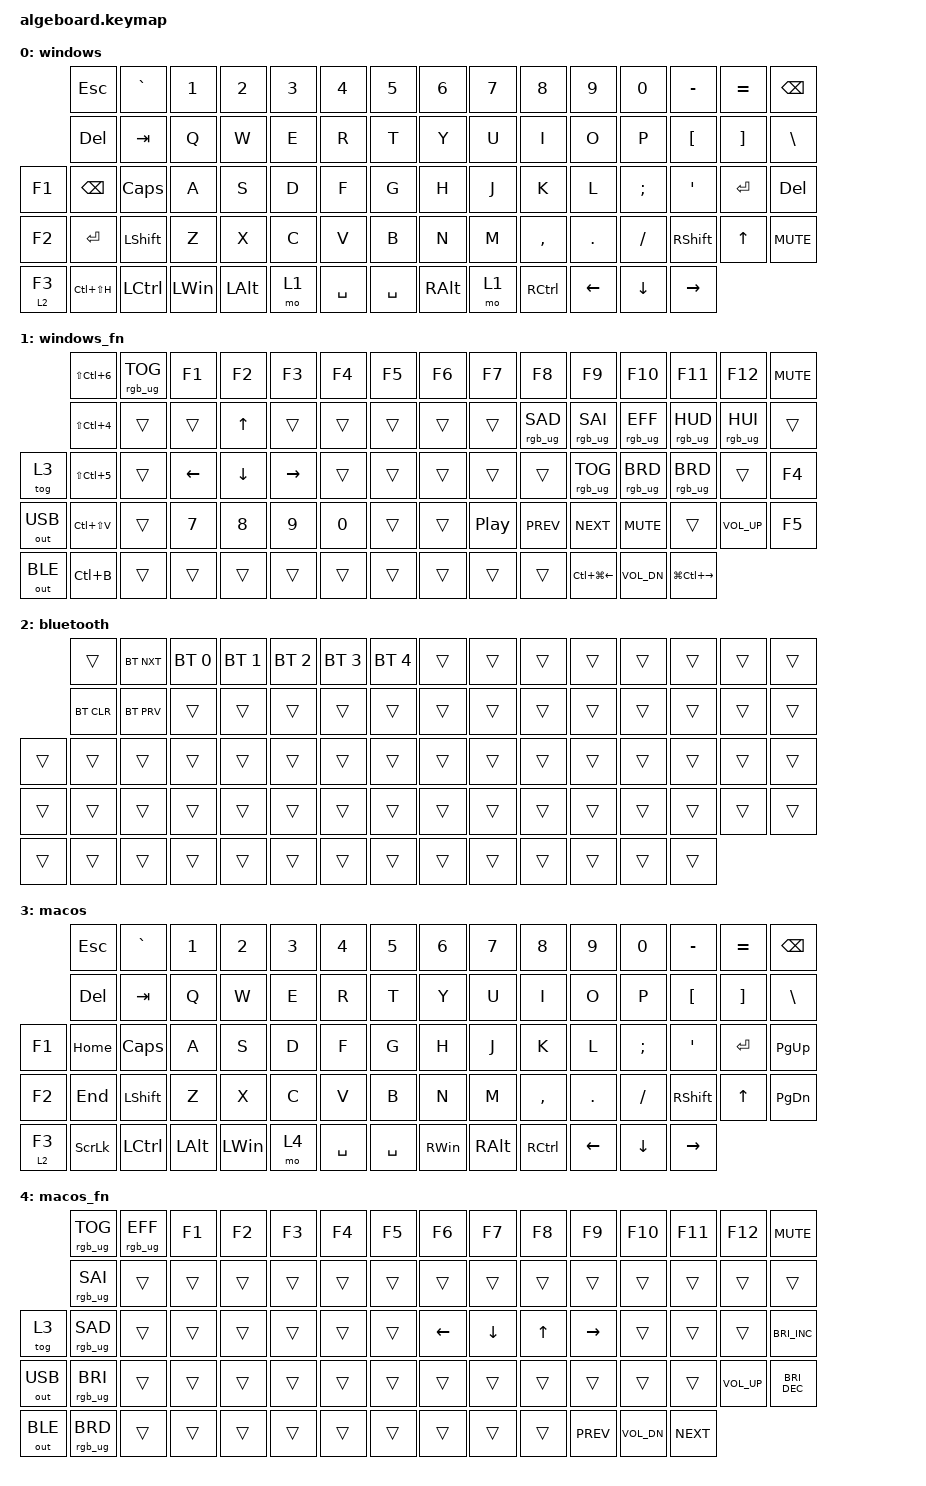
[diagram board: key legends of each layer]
/*
 * Copyright (c) 2020 The ZMK Contributors
 *
 * SPDX-License-Identifier: MIT
 */

#include <behaviors.dtsi>
#include <dt-bindings/zmk/keys.h>
#include <dt-bindings/zmk/rgb.h>
#include <dt-bindings/zmk/outputs.h>
#include <dt-bindings/zmk/bt.h>

/ {
    keymap {
        compatible = "zmk,keymap";

        windows {
            bindings = <
                 &kp ESC     &kp GRAVE    &kp N1    &kp N2  &kp N3     &kp N4     &kp N5    &kp N6  &kp N7     &kp N8    &kp N9     &kp N0   &kp MINUS  &kp EQUAL  &kp BACKSPACE
                 &kp DEL       &kp TAB     &kp Q     &kp W   &kp E      &kp R      &kp T     &kp Y   &kp U      &kp I     &kp O      &kp P    &kp LBKT   &kp RBKT  &kp BACKSLASH
   &kp F1  &kp BACKSPACE  &kp CAPSLOCK     &kp A     &kp S   &kp D      &kp F      &kp G     &kp H   &kp J      &kp K     &kp L   &kp SEMI     &kp SQT  &kp ENTER     &kp DELETE
   &kp F2      &kp ENTER    &kp LSHIFT     &kp Z     &kp X   &kp C      &kp V      &kp B     &kp N   &kp M  &kp COMMA   &kp DOT  &kp SLASH  &kp RSHIFT     &kp UP     &kp C_MUTE
 &lt 2 F3  &kp LC(LS(H))     &kp LCTRL  &kp LWIN  &kp LALT   &mo 1  &kp SPACE  &kp SPACE  &kp RALT   &mo 1  &kp RCTRL  &kp LEFT   &kp DOWN   &kp RIGHT
            >;
        };

        windows_fn {
            bindings = <
               &kp LS(LC(NUMBER_6))  &rgb_ug RGB_TOG        &kp F1        &kp F2        &kp F3        &kp F4  &kp F5  &kp F6            &kp F7           &kp F8            &kp F9          &kp F10            &kp F11          &kp F12  &kp C_MUTE
               &kp LS(LC(NUMBER_4))           &trans        &trans        &kp UP        &trans        &trans  &trans  &trans            &trans  &rgb_ug RGB_SAD   &rgb_ug RGB_SAI  &rgb_ug RGB_EFF    &rgb_ug RGB_HUD  &rgb_ug RGB_HUI      &trans
       &tog 3  &kp LS(LC(NUMBER_5))           &trans      &kp LEFT      &kp DOWN     &kp RIGHT        &trans  &trans  &trans            &trans           &trans   &rgb_ug RGB_TOG  &rgb_ug RGB_BRD    &rgb_ug RGB_BRD           &trans      &kp F4
 &out OUT_USB         &kp LC(LS(V))           &trans  &kp NUMBER_7  &kp NUMBER_8  &kp NUMBER_9  &kp NUMBER_0  &trans  &trans  &kp C_PLAY_PAUSE       &kp C_PREV        &kp C_NEXT       &kp C_MUTE             &trans     &kp C_VOL_UP      &kp F5
 &out OUT_BLE             &kp LC(B)           &trans        &trans        &trans        &trans        &trans  &trans  &trans            &trans           &trans  &kp LC(LG(LEFT))     &kp C_VOL_DN  &kp LG(LC(RIGHT))
            >;
        };

        bluetooth {
            bindings = <
             &trans  &bt BT_NXT  &bt BT_SEL 0  &bt BT_SEL 1  &bt BT_SEL 2  &bt BT_SEL 3  &bt BT_SEL 4  &trans  &trans  &trans  &trans  &trans  &trans  &trans  &trans
         &bt BT_CLR  &bt BT_PRV        &trans        &trans        &trans        &trans        &trans  &trans  &trans  &trans  &trans  &trans  &trans  &trans  &trans
 &trans      &trans      &trans        &trans        &trans        &trans        &trans        &trans  &trans  &trans  &trans  &trans  &trans  &trans  &trans  &trans
 &trans      &trans      &trans        &trans        &trans        &trans        &trans        &trans  &trans  &trans  &trans  &trans  &trans  &trans  &trans  &trans
 &trans      &trans      &trans        &trans        &trans        &trans        &trans        &trans  &trans  &trans  &trans  &trans  &trans  &trans
            >;
        };

        macos {
            bindings = <
                  &kp ESC     &kp GRAVE    &kp N1    &kp N2  &kp N3     &kp N4     &kp N5    &kp N6    &kp N7     &kp N8    &kp N9     &kp N0   &kp MINUS  &kp EQUAL  &kp BACKSPACE
                  &kp DEL       &kp TAB     &kp Q     &kp W   &kp E      &kp R      &kp T     &kp Y     &kp U      &kp I     &kp O      &kp P    &kp LBKT   &kp RBKT  &kp BACKSLASH
   &kp F1        &kp HOME  &kp CAPSLOCK     &kp A     &kp S   &kp D      &kp F      &kp G     &kp H     &kp J      &kp K     &kp L   &kp SEMI     &kp SQT  &kp ENTER      &kp PG_UP
   &kp F2         &kp END    &kp LSHIFT     &kp Z     &kp X   &kp C      &kp V      &kp B     &kp N     &kp M  &kp COMMA   &kp DOT  &kp SLASH  &kp RSHIFT     &kp UP      &kp PG_DN
 &lt 2 F3  &kp SCROLLLOCK     &kp LCTRL  &kp LALT  &kp LWIN   &mo 4  &kp SPACE  &kp SPACE  &kp RWIN  &kp RALT  &kp RCTRL  &kp LEFT   &kp DOWN   &kp RIGHT
            >;
        };

        macos_fn {
            bindings = <
               &rgb_ug RGB_TOG  &rgb_ug RGB_EFF  &kp F1  &kp F2  &kp F3  &kp F4  &kp F5    &kp F6    &kp F7  &kp F8      &kp F9       &kp F10     &kp F11       &kp F12     &kp C_MUTE
               &rgb_ug RGB_SAI           &trans  &trans  &trans  &trans  &trans  &trans    &trans    &trans  &trans      &trans        &trans      &trans        &trans         &trans
       &tog 3  &rgb_ug RGB_SAD           &trans  &trans  &trans  &trans  &trans  &trans  &kp LEFT  &kp DOWN  &kp UP   &kp RIGHT        &trans      &trans        &trans  &kp C_BRI_INC
 &out OUT_USB  &rgb_ug RGB_BRI           &trans  &trans  &trans  &trans  &trans  &trans    &trans    &trans  &trans      &trans        &trans      &trans  &kp C_VOL_UP  &kp C_BRI_DEC
 &out OUT_BLE  &rgb_ug RGB_BRD           &trans  &trans  &trans  &trans  &trans  &trans    &trans    &trans  &trans  &kp C_PREV  &kp C_VOL_DN  &kp C_NEXT
            >;
        };
    };
};
